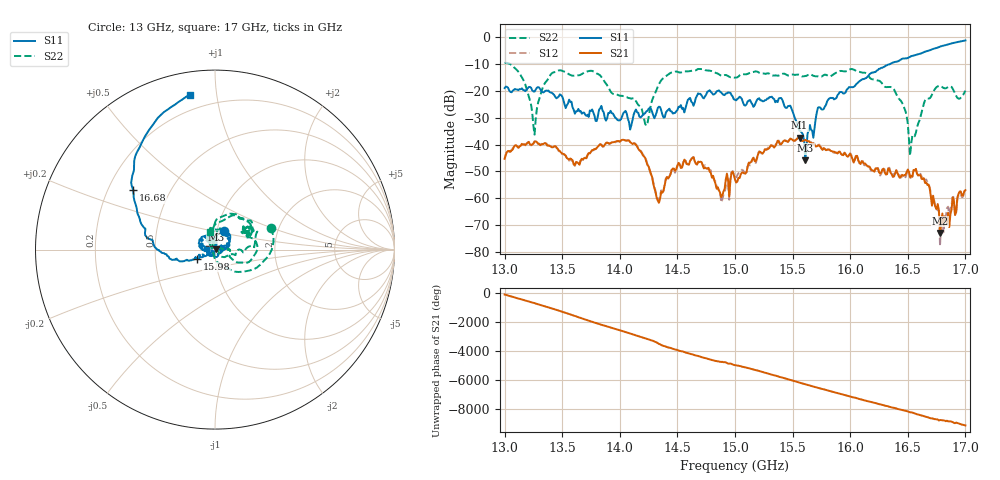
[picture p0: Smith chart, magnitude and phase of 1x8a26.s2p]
!Keysight Technologies,P9374A,MY57211807,A.19.30.04
!Date: Friday, May 08, 2026 14:12:39
!Correction: S11(C  2-Port  )
!S21(C  2-Port  )
!S12(C  2-Port  )
!S22(C  2-Port  )
!S2P File: Measurements: S11, S21, S12, S22:
# Hz S  dB  R 50
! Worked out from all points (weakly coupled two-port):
!   401 points, 13 GHz to 17 GHz, reference 50 ohm
!   highest |S21| = -37.44 dB at 15.56 GHz (marker M1); lowest = -73.0 dB at 16.78 GHz (marker M2)
!   lowest |S11| = -45.9 dB at 15.61 GHz (marker M3), VSWR 1.01, Z = 50.4 + j0.271 ohm
!   |S11| at or under -10 dB: start of sweep to 16.34 GHz
!   |S22| runs from -44.1 to -9.5 dB; largest |S21 - S12| = 0.00088
!   S11 on the Smith chart (normalised r, x): 13 GHz: 1.08, +0.22; 15.98 GHz: 0.82, -0.08; 16.68 GHz: 0.31, +0.30; 17 GHz: 0.12, +0.84
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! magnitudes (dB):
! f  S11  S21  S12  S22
! 13 GHz  -18.9  -45.3  -45.4  -9.5
! 13.15 GHz  -19.0  -39.7  -39.8  -14.9
! 13.26 GHz  -20.2  -38.9  -38.8  -36.3
! 13.41 GHz  -20.7  -41.0  -40.9  -13.4
! 13.67 GHz  -28.5  -45.4  -45.3  -13.7
! 14.08 GHz  -31.6  -38.5  -38.5  -22.7
! 14.23 GHz  -27.6  -46.3  -45.9  -33.0
! 14.34 GHz  -25.9  -61.7  -61.0  -17.5
! 14.63 GHz  -24.4  -45.0  -44.9  -12.4
! 14.89 GHz  -21.1  -59.0  -60.6  -14.4
! 15 GHz  -23.3  -53.0  -52.0  -15.1
! 15.4 GHz  -22.6  -39.9  -39.7  -13.8
! 15.56 GHz  -34.8  -37.4  -37.6  -14.0
! 15.61 GHz  -45.9  -38.3  -38.2  -14.4
! 15.67 GHz  -34.8  -39.7  -39.5  -14.1
! 15.98 GHz  -19.1  -44.6  -44.2  -12.4
! 16.34 GHz  -10.1  -49.2  -48.6  -18.5
! 16.46 GHz  -7.9  -51.7  -52.0  -25.3
! 16.53 GHz  -7.0  -51.8  -53.1  -39.6
! 16.68 GHz  -5.0  -54.9  -54.7  -22.8
! 16.78 GHz  -3.5  -73.0  -77.9  -18.1
! 17 GHz  -1.2  -57.0  -57.6  -19.9
